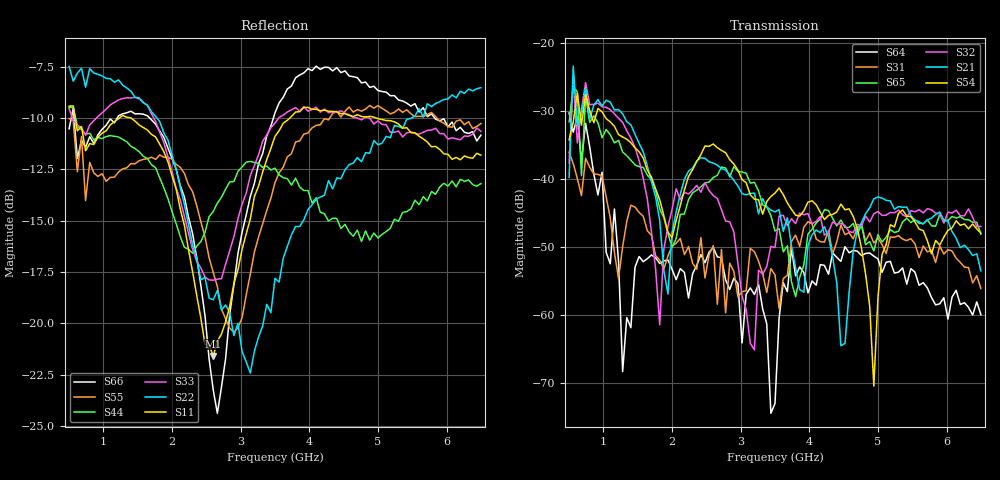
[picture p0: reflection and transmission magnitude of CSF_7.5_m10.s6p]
!Keysight Technologies,M9804A,MY58100912,A.14.10.03
!Date: Thursday, April 27, 2023 10:28:33
!Correction: S11(C  6-Port  )
!S12(C  6-Port  )
!S13(C  6-Port  )
!S14(C  6-Port  )
!S15(C  6-Port  )
!S16(C  6-Port  )
!S21(C  6-Port  )
!S22(C  6-Port  )
!S23(C  6-Port  )
!S24(C  6-Port  )
!S25(C  6-Port  )
!S26(C  6-Port  )
!S31(C  6-Port  )
!S32(C  6-Port  )
!S33(C  6-Port  )
!S34(C  6-Port  )
!S35(C  6-Port  )
!S36(C  6-Port  )
!S41(C  6-Port  )
!S42(C  6-Port  )
!S43(C  6-Port  )
!S44(C  6-Port  )
!S45(C  6-Port  )
!S46(C  6-Port  )
!S51(C  6-Port  )
!S52(C  6-Port  )
!S53(C  6-Port  )
!S54(C  6-Port  )
!S55(C  6-Port  )
!S56(C  6-Port  )
!S61(C  6-Port  )
!S62(C  6-Port  )
!S63(C  6-Port  )
!S64(C  6-Port  )
!S65(C  6-Port  )
!S66(C  6-Port  )
!S6P File: Measurement: :
# Hz S  RI  R 50
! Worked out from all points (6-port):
!   101 points, 500 MHz to 6.5 GHz, reference 50 ohm
!   strongest paths, dB at 500 MHz, 2 GHz, 3.5 GHz, 5 GHz, 6.5 GHz:
!     S54: -34.2, -48.6, -42.1, -57.5, -48.0
!     S21: -39.7, -47.9, -44.8, -42.6, -53.5
!     S32: -37.6, -44.5, -50.1, -44.8, -47.0
!     S65: -31.6, -50.1, -47.7, -48.2, -48.1
!     S31: -36.0, -49.9, -54.1, -48.7, -56.1
!     S64: -30.2, -53.3, -73.1, -51.8, -60.0
!   lowest |S11| = -21.6 dB at 2.6 GHz (marker M1), VSWR 1.18, Z = 42.6 + j2.06 ohm
!   |S11| at or under -10 dB: 589.1 MHz to 1.234 GHz (644.6 MHz wide, 70.7 % of centre); 1.401 GHz to 3.716 GHz (2.315 GHz wide, 90.5 % of centre); 4.97 GHz to end of sweep
